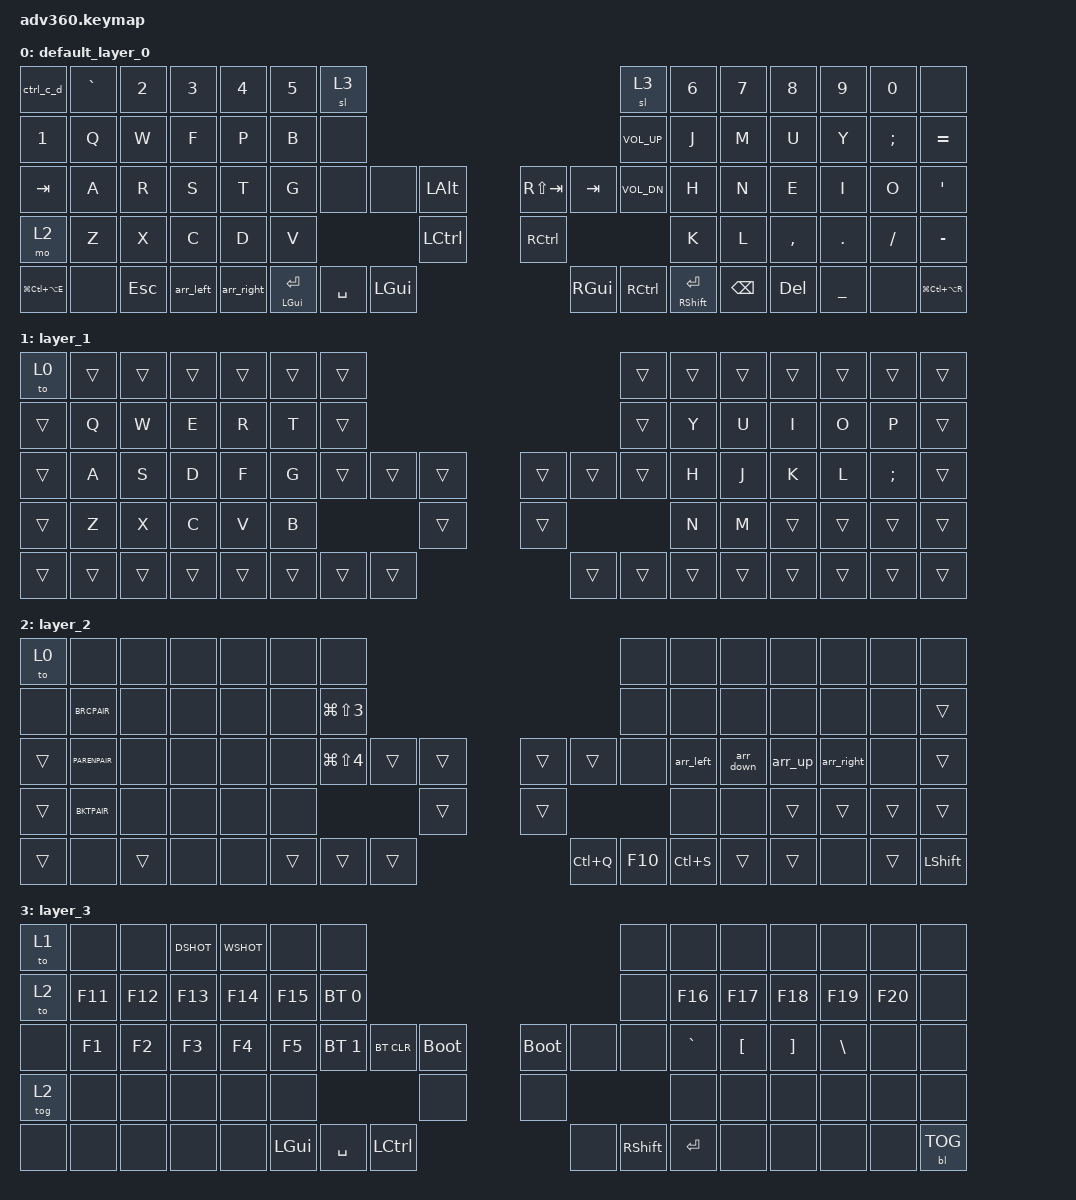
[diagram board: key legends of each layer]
/*
 * Copyright (c) 2020 The ZMK Contributors
 *
 * SPDX-License-Identifier: MIT
 */

#include <behaviors.dtsi>
#include <dt-bindings/zmk/keys.h>
#include <dt-bindings/zmk/bt.h>
#include <dt-bindings/zmk/backlight.h>

/ {
    behaviors {
      #include "behaviors.dtsi"
      #include "macros.dtsi"
    };
    combos {
      #include "combos.dtsi"
    };

    keymap {
        compatible = "zmk,keymap";

        default_layer_0 { // Default COLEMAK layer
            bindings = <
 &ctrl_c_d       &kp GRAVE   &kp N2    &kp N3     &kp N4     &kp N5    &sl 3                                                                   &sl 3           &kp N6   &kp N7     &kp N8     &kp N9     &kp N0    &none
 &kp N1          &kp Q       &kp W     &kp F      &kp P      &kp B     &none                                                                   &kp C_VOL_UP    &kp J    &kp M      &kp U      &kp Y      &kp SEMI  &kp EQUAL
 &kp TAB         &kp A       &kp R     &kp S      &kp T      &kp G     &none          &none      &kp LALT                &kp RS(TAB) &kp TAB   &kp C_VOL_DN    &kp H    &kp N      &kp E      &kp I      &kp O     &kp SQT
 &mo 2           &kp Z       &kp X     &kp C      &kp D      &kp V                               &kp LCTRL               &kp RCTRL                             &kp K    &kp L      &kp COMMA  &kp DOT    &kp FSLH  &kp MINUS
 &kp LG(LC(LA(E))) &none     &kp ESC   &arr_left  &arr_right           &mt LGUI ENTER &kp SPACE  &kp LGUI                &kp RGUI    &kp RCTRL &mt RSHFT ENTER          &kp BSPC   &kp DEL    &kp UNDER  &none     &kp LG(LC(LA(R)))
            >;
        };

        layer_1 { // QWERTY layer (to enable, press ESC while in the MGMT layer; to disable, press ESC)
            bindings = <
 &to 0   &trans  &trans  &trans  &trans  &trans &trans                                            &trans  &trans  &trans  &trans  &trans  &trans   &trans
 &trans  &kp Q   &kp W   &kp E   &kp R   &kp T  &trans                                            &trans  &kp Y   &kp U   &kp I   &kp O   &kp P    &trans
 &trans  &kp A   &kp S   &kp D   &kp F   &kp G  &trans  &trans    &trans        &trans  &trans    &trans  &kp H   &kp J   &kp K   &kp L   &kp SEMI &trans
 &trans  &kp Z   &kp X   &kp C   &kp V   &kp B                    &trans        &trans                    &kp N   &kp M   &trans  &trans  &trans   &trans
 &trans  &trans  &trans  &trans  &trans         &trans  &trans    &trans        &trans  &trans    &trans          &trans  &trans  &trans  &trans   &trans
            >;
        };

        layer_2 { // Movements+etc layer (to enable, press LEFT SHIFT button or Right-Thumb-2 key)
            bindings = <
 &to 0    &none      &none        &none      &none       &none       &none                                                   &none   &none      &none     &none      &none      &none      &none
 &none    &BRCPAIR   &none        &none      &none       &none       &kp LG(LS(N3))                                          &none   &none      &none     &none      &none      &none      &trans
 &trans   &PARENPAIR &none        &none      &none       &none       &kp LG(LS(N4)) &trans  &trans           &trans  &trans  &none   &arr_left  &arr_down &arr_up    &arr_right &none      &trans
 &trans   &BKTPAIR   &none        &none      &none       &none                              &trans           &trans                  &none      &none     &trans     &trans     &trans     &trans
 &trans   &none      &trans       &none      &none                   &trans         &trans  &trans           &kp LC(Q) &kp F10 &kp LC(S)        &trans    &trans     &none      &trans     &kp LSHFT
            >;
        };

        layer_3 { // MGMT layer (to enable, press the key to the right of the NUM5 / to the left of the NUM6)
            bindings = <
 &to 1   &none    &none    &DSHOT      &WSHOT   &none     &none                                                                 &none   &none    &none    &none    &none     &none     &none
 &to 2   &kp F11  &kp F12  &kp F13     &kp F14  &kp F15   &bt BT_SEL 0                                                          &none   &kp F16  &kp F17  &kp F18  &kp F19   &kp F20   &none
 &none   &kp F1   &kp F2   &kp F3      &kp F4   &kp F5    &bt BT_SEL 1  &bt BT_CLR  &bootloader           &bootloader   &none   &none   &kp GRAVE &kp LBKT &kp RBKT &kp BSLH &none     &none
 &tog 2  &none    &none    &none       &none    &none                               &none                 &none                         &none    &none    &none    &none     &none     &none
 &none   &none    &none    &none       &none              &kp LGUI      &kp SPACE   &kp LCTRL             &none         &kp RSHFT &kp ENTER      &none    &none    &none     &none     &bl BL_TOG
            >;
        };

    };
};

// vim: nowrap:filetype=dts
